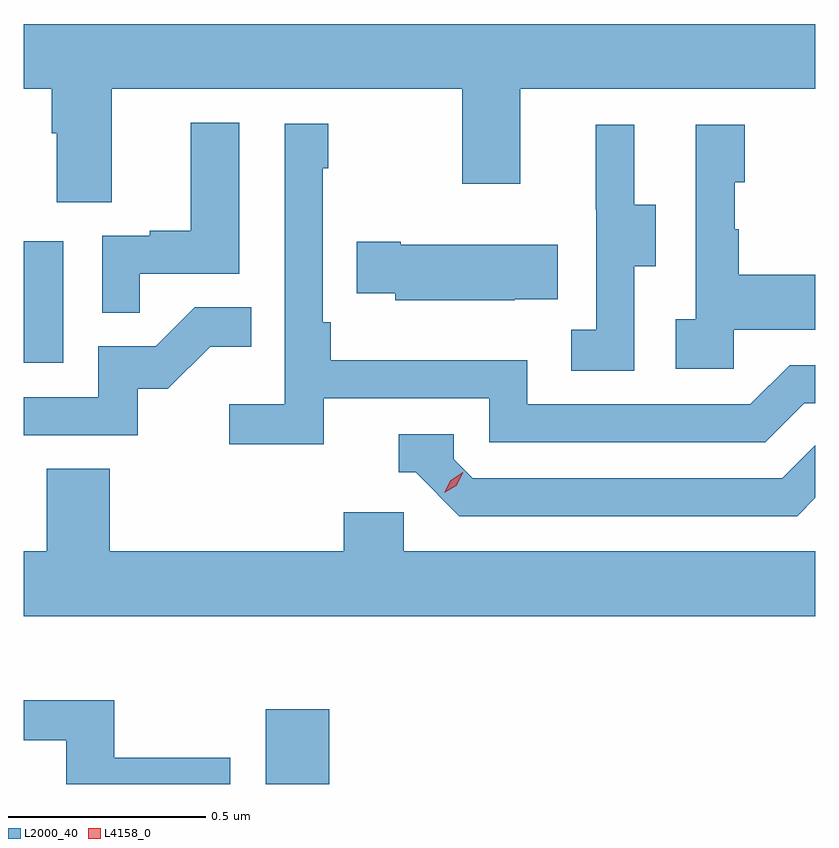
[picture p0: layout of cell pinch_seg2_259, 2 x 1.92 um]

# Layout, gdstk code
import gdstk
lib = gdstk.Library(unit=1e-6, precision=1e-09)
def R(c, l, rs):  # rectangles x0, y0, x1, y1
    for r in rs: c.add(gdstk.rectangle(r[:2], r[2:], *l))
def P(c, l, *ps):  # polygons
    for p in ps: c.add(gdstk.Polygon(p, *l))
L2000_40 = (2000, 40)
L4158_0 = (4158, 0)

pinch_seg2_259 = lib.new_cell('pinch_seg2_259')
R(pinch_seg2_259, L2000_40, [(950.987,660.532,951.148,660.721), (950.376,661.596,950.476,661.903)])
P(pinch_seg2_259, L2000_40, [(950.599,662.288),(951.484,662.288),(951.484,662.049),(951.631,662.049),(951.631,662.288),(952.376,662.288),(952.376,662.452),(950.376,662.452),(950.376,662.288),(950.447,662.288),(950.447,662.176),(950.459,662.176),(950.459,662.002),(950.599,662.002)],
  [(950.669,661.821),(950.92,661.821),(950.92,662.203),(950.798,662.203),(950.798,661.93),(950.695,661.93),(950.695,661.917),(950.574,661.917),(950.574,661.723),(950.669,661.723)],
  [(951.134,661.506),(951.552,661.506),(951.552,661.395),(952.249,661.395),(952.348,661.494),(952.376,661.494),(952.376,661.59),(952.311,661.59),(952.212,661.491),(951.648,661.491),(951.648,661.603),(951.152,661.603),(951.152,661.699),(951.132,661.699),(951.132,662.087),(951.145,662.087),(951.145,662.2),(951.036,662.2),(951.036,661.492),(950.895,661.492),(950.895,661.39),(951.134,661.39)],
  [(951.918,661.84),(951.973,661.84),(951.973,661.995),(951.919,661.995),(951.919,662.197),(951.821,662.197),(951.821,661.983),(951.822,661.983),(951.822,661.679),(951.759,661.679),(951.759,661.576),(951.918,661.576)],
  [(952.17,661.679),(952.376,661.679),(952.376,661.819),(952.183,661.819),(952.183,661.934),(952.173,661.934),(952.173,662.052),(952.198,662.052),(952.198,662.197),(952.074,662.197),(952.074,661.706),(952.023,661.706),(952.023,661.581),(952.17,661.581)],
  [(951.617,661.757),(951.725,661.757),(951.725,661.894),(951.328,661.894),(951.328,661.902),(951.217,661.902),(951.217,661.772),(951.315,661.772),(951.315,661.754),(951.617,661.754)],
  [(950.664,661.53),(950.74,661.53),(950.847,661.637),(950.951,661.637),(950.951,661.736),(950.808,661.736),(950.71,661.638),(950.565,661.638),(950.565,661.509),(950.376,661.509),(950.376,661.413),(950.664,661.413)],
  [(952.376,661.255),(952.376,661.388),(952.293,661.305),(951.51,661.305),(951.462,661.353),(951.462,661.416),(951.323,661.416),(951.323,661.32),(951.366,661.32),(951.477,661.209),(952.33,661.209)],
  [(952.376,661.12),(951.336,661.12),(951.336,661.218),(951.185,661.218),(951.185,661.12),(950.594,661.12),(950.594,661.328),(950.434,661.328),(950.434,661.12),(950.376,661.12),(950.376,660.956),(952.376,660.956)],
  [(950.898,660.598),(950.605,660.598),(950.605,660.744),(950.376,660.744),(950.376,660.643),(950.484,660.643),(950.484,660.532),(950.898,660.532)])
P(pinch_seg2_259, L4158_0, [(951.438,661.268),(951.438,661.268),(951.455,661.3),(951.485,661.319),(951.486,661.319),(951.486,661.319),(951.469,661.286),(951.439,661.268)])

lib.write_gds('pinch_seg2_259.gds')
